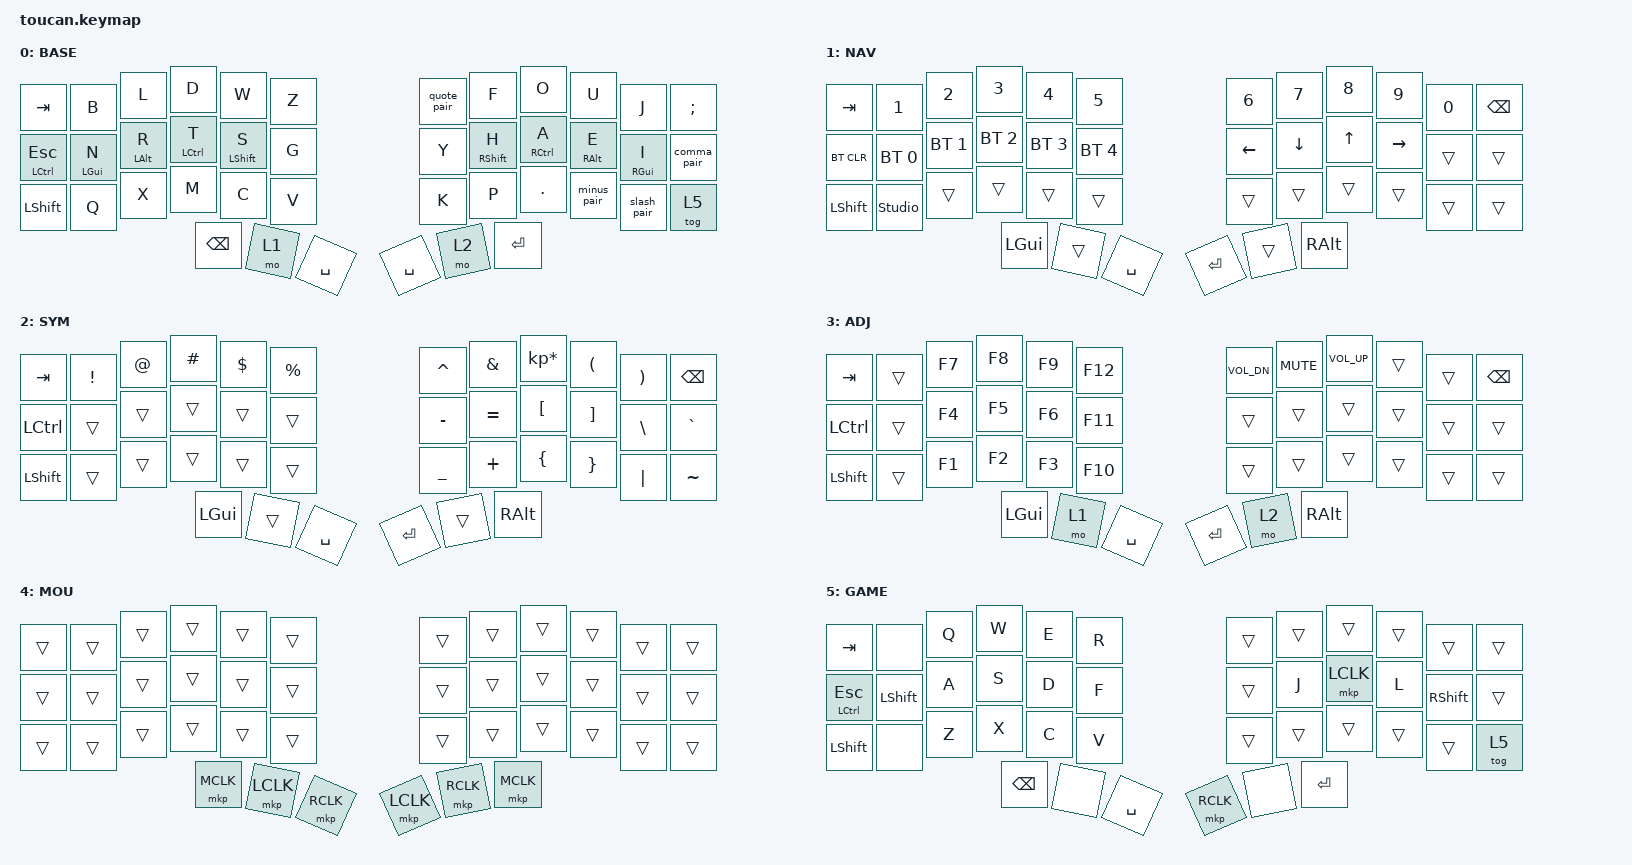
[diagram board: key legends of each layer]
#include <behaviors.dtsi>
#include <dt-bindings/zmk/keys.h>
#include <dt-bindings/zmk/bt.h>
#include <dt-bindings/zmk/outputs.h>
#include <dt-bindings/zmk/pointing.h>

/ {
    behaviors {
        // ZMK v0.3's documented timeless home row mods, with Toucan positions.
        // https://zmk.dev/docs/keymaps/behaviors/hold-tap#custom-hold-tap-examples
        hml: home_row_mod_left {
            compatible = "zmk,behavior-hold-tap";
            #binding-cells = <2>;
            display-name = "Home row mod left";
            flavor = "balanced";
            require-prior-idle-ms = <150>;
            tapping-term-ms = <280>;
            quick-tap-ms = <175>;
            bindings = <&kp>, <&kp>;
            hold-trigger-key-positions = <6 7 8 9 10 11 18 19 20 21 22 23 30 31 32 33 34 35 39 40 41>;
            hold-trigger-on-release;
        };

        hmr: home_row_mod_right {
            compatible = "zmk,behavior-hold-tap";
            #binding-cells = <2>;
            display-name = "Home row mod right";
            flavor = "balanced";
            require-prior-idle-ms = <150>;
            tapping-term-ms = <280>;
            quick-tap-ms = <175>;
            bindings = <&kp>, <&kp>;
            hold-trigger-key-positions = <0 1 2 3 4 5 12 13 14 15 16 17 24 25 26 27 28 29 36 37 38>;
            hold-trigger-on-release;
        };

        // Original Graphite Shift pairs, triggered by either Shift key.
        // https://github.com/rdavison/graphite-layout#ascii-version
        // https://zmk.dev/docs/keymaps/behaviors/mod-morph
        quote_pair: quote_pair {
            compatible = "zmk,behavior-mod-morph";
            #binding-cells = <0>;
            display-name = "apostrophe / underscore";
            bindings = <&kp SQT>, <&kp UNDER>;
            mods = <(MOD_LSFT|MOD_RSFT)>;
        };

        comma_pair: comma_pair {
            compatible = "zmk,behavior-mod-morph";
            #binding-cells = <0>;
            display-name = "comma / question mark";
            bindings = <&kp COMMA>, <&kp QMARK>;
            mods = <(MOD_LSFT|MOD_RSFT)>;
        };

        minus_pair: minus_pair {
            compatible = "zmk,behavior-mod-morph";
            #binding-cells = <0>;
            display-name = "minus / double quote";
            bindings = <&kp MINUS>, <&kp DQT>;
            mods = <(MOD_LSFT|MOD_RSFT)>;
        };

        slash_pair: slash_pair {
            compatible = "zmk,behavior-mod-morph";
            #binding-cells = <0>;
            display-name = "slash / less than";
            bindings = <&kp FSLH>, <&kp LT>;
            mods = <(MOD_LSFT|MOD_RSFT)>;
        };
    };

    conditional_layers {
        compatible = "zmk,conditional-layers";
        tri_layer {
            if-layers = <1 2>;
            then-layer = <3>;
        };
    };

    keymap {
        compatible = "zmk,keymap";

        base {
            display-name = "BASE";
            bindings = <
                &kp TAB   &kp B       &kp L       &kp D        &kp W        &kp Z   &quote_pair &kp F        &kp O        &kp U       &kp J           &kp SEMI
                &mt LCTRL ESC &hml LGUI N &hml LALT R &hml LCTRL T &hml LSHFT S &kp G   &kp Y           &hmr RSHFT H &hmr RCTRL A &hmr RALT E &hmr RGUI I     &comma_pair
                &kp LSHFT &kp Q       &kp X       &kp M        &kp C        &kp V   &kp K           &kp P        &kp DOT      &minus_pair &slash_pair &tog 5
                                                &kp BSPC     &mo 1        &kp SPACE   &kp SPACE &mo 2 &kp RET
            >;
        };

        nav {
            display-name = "NAV";
            bindings = <
                &kp TAB     &kp N1          &kp N2       &kp N3       &kp N4       &kp N5         &kp N6   &kp N7   &kp N8 &kp N9    &kp N0 &kp BSPC
                &bt BT_CLR  &bt BT_SEL 0    &bt BT_SEL 1 &bt BT_SEL 2 &bt BT_SEL 3 &bt BT_SEL 4   &kp LEFT &kp DOWN &kp UP &kp RIGHT &trans &trans
                &kp LSHFT   &studio_unlock  &trans       &trans       &trans       &trans         &trans   &trans   &trans &trans    &trans &trans
                                                &kp LGUI     &trans       &kp SPACE      &kp RET  &trans   &kp RALT
            >;
        };

        sym {
            display-name = "SYM";
            bindings = <
                &kp TAB   &kp EXCL &kp AT &kp HASH &kp DLLR &kp PRCNT   &kp CARET &kp AMPS  &kp KP_MULTIPLY &kp LPAR &kp RPAR &kp BSPC
                &kp LCTRL &trans   &trans &trans   &trans   &trans      &kp MINUS &kp EQUAL &kp LBKT        &kp RBKT &kp BSLH &kp GRAVE
                &kp LSHFT &trans   &trans &trans   &trans   &trans      &kp UNDER &kp PLUS  &kp LBRC        &kp RBRC &kp PIPE &kp TILDE
                                          &kp LGUI &trans   &kp SPACE   &kp RET   &trans    &kp RALT
            >;
        };

        adj {
            display-name = "ADJ";
            bindings = <
                &kp TAB   &trans &kp F7 &kp F8 &kp F9 &kp F12   &kp C_VOL_DN &kp C_MUTE  &kp C_VOL_UP &trans &trans &kp BSPC
                &kp LCTRL &trans &kp F4 &kp F5 &kp F6 &kp F11   &trans       &trans      &trans       &trans &trans &trans
                &kp LSHFT &trans &kp F1 &kp F2 &kp F3 &kp F10   &trans       &trans      &trans       &trans &trans &trans
                                   &kp LGUI &mo 1 &kp SPACE   &kp RET &mo 2 &kp RALT
            >;
        };

        mouse {
            display-name = "MOU";
            bindings = <
                &trans &trans &trans &trans &trans &trans           &trans &trans &trans &trans &trans &trans
                &trans &trans &trans &trans &trans &trans           &trans &trans &trans &trans &trans &trans
                &trans &trans &trans &trans &trans &trans           &trans &trans &trans &trans &trans &trans
                            &mkp MCLK &mkp LCLK &mkp RCLK           &mkp LCLK &mkp RCLK &mkp MCLK
            >;
        };

        game {
            display-name = "GAME";
            // Above MOU so trackpad contact does not replace the gaming thumbs.
            bindings = <
                &kp TAB      &none &kp Q &kp W &kp E &kp R   &trans &trans &trans    &trans &trans &trans
                &mt LCTRL ESC &kp LSHFT &kp A &kp S &kp D &kp F   &trans &kp J  &mkp LCLK &kp L  &kp RSHFT &trans
                &kp LSHFT    &none &kp Z &kp X &kp C &kp V   &trans &trans &trans    &trans &trans &tog 5
                                     &kp BSPC &none &kp SPACE   &mkp RCLK &none &kp RET
            >;
        };

        extra_3 {
                status = "reserved";
        };
    };
};
